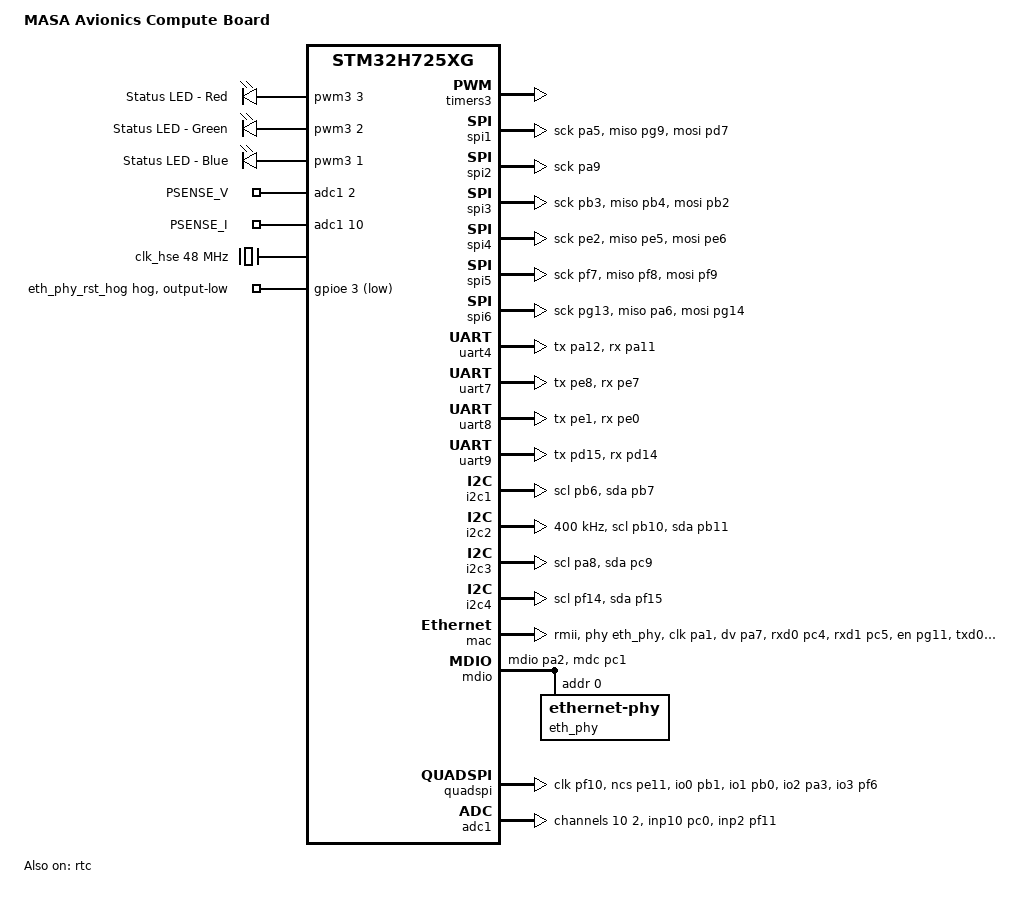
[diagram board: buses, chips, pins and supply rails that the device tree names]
/dts-v1/;
#include <st/h7/stm32h725Xg.dtsi>
#include <st/h7/stm32h725zgtx-pinctrl.dtsi>
#include <zephyr/dt-bindings/input/input-event-codes.h>


/ {
	model = "MASA Avionics Compute Board";
	compatible = "masa,compute-board";

	chosen {
		zephyr,dtcm = &dtcm;
		zephyr,sram = &sram0;
		zephyr,flash = &flash0;
	};

	pwmleds {
		compatible = "pwm-leds";

		red_pwm_led: red_pwm_led {
			pwms = <&pwm3 3 PWM_HZ(100) PWM_POLARITY_NORMAL>;
			label = "Status LED - Red";
		};

		green_pwm_led: green_pwm_led {
			pwms = <&pwm3 2 PWM_HZ(100) PWM_POLARITY_NORMAL>;
			label = "Status LED - Green";
		};

		blue_pwm_led: blue_pwm_led {
			pwms = <&pwm3 1 PWM_HZ(100) PWM_POLARITY_NORMAL>;
			label = "Status LED - Blue";
		};
	};

	gpios {
		eth_phy_nrst: gpio_pe3 {
			gpios = <&gpioe 3 GPIO_ACTIVE_LOW>;
			label = "Ethernet PHY Reset Pin";
		};

		eeprom_wc: pa15 {
			gpios = <&gpioa 15 GPIO_ACTIVE_HIGH>;
			label = "EEPROM Write Control Pin";
		};
	};

	zephyr,user {
        io-channels = <&adc1 2>, <&adc1 10>;
		io-channel-names = "PSENSE_V", "PSENSE_I";
    };

	aliases {
		red-led   = &red_pwm_led;
		green-led = &green_pwm_led;
		blue-led  = &blue_pwm_led;
		eth-rst   = &eth_phy_nrst;
		eeprom-wc = &eeprom_wc;
        };
};

&timers3 {
	st,prescaler = <1000>;
	status = "okay";

	pwm3: pwm {
		status = "okay";
		pinctrl-0 = <&tim3_ch1_pc6 &tim3_ch2_pc7 &tim3_ch3_pc8>;
		pinctrl-names = "default";
	};
};


// Clock config mostly based on what worked for Limelight hardware
&clk_lsi {
	status = "okay";
};

&clk_hsi48 {
	status = "okay";
};

&clk_hse {
	clock-frequency = <DT_FREQ_M(48)>; /* STLink 8MHz clock */
	status = "okay";
};

&clk_lse {
	status = "okay";
};

&pll {
	div-m = <6>;
	mul-n = <60>;
	div-p = <1>; // 480 MHz
	div-q = <2>; // 240 MHz
	div-r = <2>; // 240 MHz
	clocks = <&clk_hse>;
	status = "okay";
};

&pll2 {
	div-m = <6>;
	mul-n = <60>;
	div-p = <2>; // 240 MHz
	div-q = <2>; // 240 MHz
	div-r = <2>; // 240 MHz
	clocks = <&clk_hse>;
	status = "okay";
};

&pll3 {
	div-m = <8>;
	mul-n = <129>;
	div-p = <2>; // 240 MHz
	div-q = <2>; // 240 MHz
	div-r = <2>; // 240 MHz
	clocks = <&clk_hse>;
	status = "okay";
};

&rcc {
	clocks = <&pll>;
	clock-frequency = <DT_FREQ_M(480)>;
	d1cpre = <1>;
	hpre = <2>;    /* HCLK: 240 MHz */
	d1ppre = <2>;  /* APB1: 120 MHz */
	d2ppre1 = <2>; /* APB2: 120 MHz */
	d2ppre2 = <2>; /* APB3: 120 MHz */
	d3ppre = <2>;  /* APB4: 120 MHz */
};

&rtc {
	clocks = <&rcc STM32_CLOCK(APB4, 16)>,
		<&rcc STM32_SRC_LSE RTC_SEL(1)>;
	status = "okay";
};

&pwr {
	power-supply = "ldo";
};

&backup_sram {
	status = "okay";
};

&spi1 {
	status = "okay";
	pinctrl-0 = <&spi1_sck_pa5 &spi1_miso_pg9 &spi1_mosi_pd7>;
	pinctrl-names = "default";
};

&spi2 {
	status = "okay";
	pinctrl-0 = <&spi2_sck_pa9 &spi2_miso_pc2_c &spi2_mosi_pc3_c>;
	pinctrl-names = "default";
};

&spi3 {
	status = "okay";
	pinctrl-0 = <&spi3_sck_pb3 &spi3_miso_pb4 &spi3_mosi_pb2>;
	pinctrl-names = "default";
};

&spi4 {
	status = "okay";
	pinctrl-0 = <&spi4_sck_pe2 &spi4_miso_pe5 &spi4_mosi_pe6>;
	pinctrl-names = "default";
};

&spi5 {
	status = "okay";
	pinctrl-0 = <&spi5_sck_pf7 &spi5_miso_pf8 &spi5_mosi_pf9>;
	pinctrl-names = "default";
};

&spi6 {
	status = "okay";
	pinctrl-0 = <&spi6_sck_pg13 &spi6_miso_pa6 &spi6_mosi_pg14>;
	pinctrl-names = "default";
};

&uart4 {
	pinctrl-0 = <&uart4_tx_pa12 &uart4_rx_pa11>;
	pinctrl-names = "default";
	status = "okay";
};

&uart7 {
	pinctrl-0 = <&uart7_tx_pe8 &uart7_rx_pe7>;
	pinctrl-names = "default";
	status = "okay";
};

&uart8 {
	pinctrl-0 = <&uart8_tx_pe1 &uart8_rx_pe0>;
	pinctrl-names = "default";
	status = "okay";
};

&uart9 {
	pinctrl-0 = <&uart9_tx_pd15 &uart9_rx_pd14>;
	pinctrl-names = "default";
	status = "okay";
};

&i2c1 {
	pinctrl-0 = <&i2c1_scl_pb6 &i2c1_sda_pb7>;
	pinctrl-names = "default";
	status = "okay";
};

// EEPROM and temp sensor
&i2c2 {
	pinctrl-0 = <&i2c2_scl_pb10 &i2c2_sda_pb11>;
	pinctrl-names = "default";
	status = "okay";

	clock-frequency = <I2C_BITRATE_FAST>;
};

&i2c3 {
	pinctrl-0 = <&i2c3_scl_pa8 &i2c3_sda_pc9>;
	pinctrl-names = "default";
	status = "okay";
};

&i2c4 {
	pinctrl-0 = <&i2c4_scl_pf14 &i2c4_sda_pf15>;
	pinctrl-names = "default";
	status = "okay";
};

// Zephyr doesn't have support for i2c5 for some reason, you can add it manually if it's required
/*&i2c5 {
	pinctrl-0 = <&i2c5_scl_pc11 &i2c5_sda_pc10>;
	pinctrl-names = "default";
	status = "okay";
};*/

&mac {
	status = "okay";
	pinctrl-0 = <&eth_ref_clk_pa1
			&eth_crs_dv_pa7
			&eth_rxd0_pc4
			&eth_rxd1_pc5
			&eth_tx_en_pg11
			&eth_txd0_pb12
			&eth_txd1_pg12>;
	pinctrl-names = "default";
	phy-connection-type = "rmii";
	phy-handle = <&eth_phy>;
};

&mdio {
	status = "okay";
	pinctrl-0 = <&eth_mdio_pa2 &eth_mdc_pc1>;
	pinctrl-names = "default";

	eth_phy: ethernet-phy@0 {
		compatible = "ethernet-phy";
		reg = <0>;
	};
};

// Set up Ethernet PHY reset pin to be high on startup
&gpioe {
	eth_phy_rst_hog {
		gpio-hog;
		gpios = <3 GPIO_ACTIVE_LOW>;
		output-low;
	};
};

&quadspi {
	status = "okay";

	pinctrl-0 = <&octospim_p1_clk_pf10
                &octospim_p1_ncs_pe11
                &octospim_p1_io0_pb1
                &octospim_p1_io1_pb0
                &octospim_p1_io2_pa3
                &octospim_p1_io3_pf6>;
	pinctrl-names = "default";
};

&adc1 {
	status = "okay";

	pinctrl-0 = <&adc1_inp10_pc0 &adc1_inp2_pf11>;
	pinctrl-names = "default";
	st,adc-clock-source = "SYNC";
	st,adc-prescaler = <64>;

	#address-cells = <1>;
	#size-cells = <0>;

	channel@a {
		reg = <10>;
		zephyr,gain = "ADC_GAIN_1";
		zephyr,reference = "ADC_REF_INTERNAL";
		zephyr,acquisition-time = <ADC_ACQ_TIME_DEFAULT>;
		zephyr,resolution = <12>;
	};

	channel@2 {
		reg = <2>;
		zephyr,gain = "ADC_GAIN_1";
		zephyr,reference = "ADC_REF_INTERNAL";
		zephyr,acquisition-time = <ADC_ACQ_TIME_DEFAULT>;
		zephyr,resolution = <12>;
	};
};
